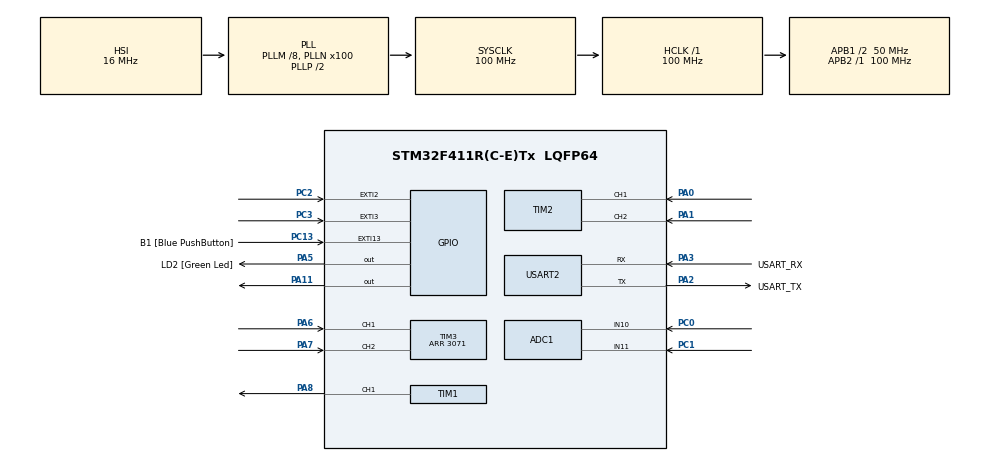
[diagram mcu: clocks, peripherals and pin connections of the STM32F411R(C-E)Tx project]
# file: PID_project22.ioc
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ADC1.Channel-0\#ChannelRegularConversion=ADC_CHANNEL_10
ADC1.NbrOfConversionFlag=1
ADC1.Rank-0\#ChannelRegularConversion=1
ADC1.SamplingTime-0\#ChannelRegularConversion=ADC_SAMPLETIME_3CYCLES
ADC1.master=1
Mcu.Family=STM32F4
Mcu.Name=STM32F411R(C-E)Tx
Mcu.Package=LQFP64
NVIC.PriorityGroup=NVIC_PRIORITYGROUP_0
NVIC.TIM1_BRK_TIM9_IRQn=true\:0\:0\:false\:false\:true\:true\:true\:true
NVIC.TIM2_IRQn=true\:0\:0\:false\:false\:true\:true\:true\:true
NVIC.TIM5_IRQn=true\:0\:0\:false\:false\:true\:true\:true\:true
PA0-WKUP.Signal=S_TIM2_CH1_ETR
PA1.Signal=S_TIM2_CH2
PA11.Signal=GPIO_Output
PA13.GPIO_Label=TMS
PA13.Mode=Trace_Asynchronous_SW
PA13.Signal=SYS_JTMS-SWDIO
PA14.GPIO_Label=TCK
PA14.Mode=Trace_Asynchronous_SW
PA14.Signal=SYS_JTCK-SWCLK
PA2.GPIO_Label=USART_TX
PA2.Mode=Asynchronous
PA2.Signal=USART2_TX
PA3.GPIO_Label=USART_RX
PA3.Mode=Asynchronous
PA3.Signal=USART2_RX
PA5.GPIO_Label=LD2 [Green Led]
PA5.Signal=GPIO_Output
PA6.Signal=S_TIM3_CH1
PA7.Signal=S_TIM3_CH2
PA8.Signal=S_TIM1_CH1
PB3.GPIO_Label=SWO
PB3.Mode=Trace_Asynchronous_SW
PB3.Signal=SYS_JTDO-SWO
PC0.Signal=ADCx_IN10
PC1.Signal=ADCx_IN11
PC13-ANTI_TAMP.GPIO_Label=B1 [Blue PushButton]
PC13-ANTI_TAMP.GPIO_ModeDefaultEXTI=GPIO_MODE_IT_FALLING
PC13-ANTI_TAMP.Signal=GPXTI13
PC14-OSC32_IN.Mode=LSE-External-Oscillator
PC14-OSC32_IN.Signal=RCC_OSC32_IN
PC15-OSC32_OUT.Mode=LSE-External-Oscillator
PC15-OSC32_OUT.Signal=RCC_OSC32_OUT
PC2.Signal=GPXTI2
PC3.Signal=GPXTI3
PH0\ -\ OSC_IN.Mode=HSE-External-Clock-Source
PH0\ -\ OSC_IN.Signal=RCC_OSC_IN
PH1\ -\ OSC_OUT.Mode=HSE-External-Clock-Source
PH1\ -\ OSC_OUT.Signal=RCC_OSC_OUT
ProjectManager.HeapSize=0x200
ProjectManager.StackSize=0x400
ProjectManager.TargetToolchain=STM32CubeIDE
RCC.48MHZClocksFreq_Value=50000000
RCC.AHBFreq_Value=100000000
RCC.APB1CLKDivider=RCC_HCLK_DIV2
RCC.APB1Freq_Value=50000000
RCC.APB1TimFreq_Value=100000000
RCC.APB2Freq_Value=100000000
RCC.APB2TimFreq_Value=100000000
RCC.CortexFreq_Value=100000000
RCC.FLatency-AdvancedSettings=FLASH_LATENCY_3
RCC.HCLKFreq_Value=100000000
RCC.HSE_VALUE=8000000
RCC.HSI_VALUE=16000000
RCC.PLLM=8
RCC.PLLN=100
RCC.SYSCLKFreq_VALUE=100000000
RCC.SYSCLKSource=RCC_SYSCLKSOURCE_PLLCLK
RCC.VCOOutputFreq_Value=200000000
SH.ADCx_IN10.0=ADC1_IN10,IN10
SH.ADCx_IN11.0=ADC1_IN11,IN11
SH.S_TIM1_CH1.0=TIM1_CH1,PWM Generation1 CH1
SH.S_TIM2_CH1_ETR.0=TIM2_CH1,Encoder_Interface
SH.S_TIM2_CH2.0=TIM2_CH2,Encoder_Interface
SH.S_TIM3_CH1.0=TIM3_CH1,Encoder_Interface
SH.S_TIM3_CH2.0=TIM3_CH2,Encoder_Interface
TIM1.Channel-PWM\ Generation1\ CH1=TIM_CHANNEL_1
TIM1.Period=24999
TIM1.Prescaler=5-1
TIM2.EncoderMode=TIM_ENCODERMODE_TI12
TIM3.EncoderMode=TIM_ENCODERMODE_TI12
TIM3.Period=3071
TIM5.Prescaler=83
TIM9.Period=1000-1
TIM9.Prescaler=9
USART2.VirtualMode=VM_ASYNC
VP_TIM1_VS_ClockSourceINT.Mode=Internal
VP_TIM5_VS_ClockSourceINT.Mode=Internal
VP_TIM9_VS_ClockSourceINT.Mode=Internal
board=NUCLEO-F411RE

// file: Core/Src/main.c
/* USER CODE BEGIN Header */
/**
 ******************************************************************************
 * @file           : main.c
 * @brief          : Main program body
 ******************************************************************************
 * @attention
 *
 * Copyright (c) 2023 STMicroelectronics.
 * All rights reserved.
 *
 * This software is licensed under terms that can be found in the LICENSE file
 * in the root directory of this software component.
 * If no LICENSE file comes with this software, it is provided AS-IS.
 *
 ******************************************************************************
 */
/* USER CODE END Header */
//#include <LowpassFilter.h>
#include "main.h"

/* USER CODE BEGIN Includes */

#include "LowpassFilter.h"
#include "math.h"
#include "trajectory_trapezoidal.h"
#include "PIDControl.h"

/* USER CODE END Includes */

ADC_HandleTypeDef hadc1;

TIM_HandleTypeDef htim1;
TIM_HandleTypeDef htim2;
TIM_HandleTypeDef htim3;
TIM_HandleTypeDef htim5;
TIM_HandleTypeDef htim9;

UART_HandleTypeDef huart2;

/* USER CODE BEGIN PV */

float velo_filter = 0;
float acc_filter = 0;

float position_milli = 0;

// time
float dt = 0.0001;
uint64_t _micros = 0;
uint64_t time = 0;
uint8_t time_flag = 0;

float velocity_max = 34000;
float acceleration_max = 80000;

int position_setpoint = 0;
float velocity_setpoint = 0;
float acceleration_setpoint = 0;

float Kp_position = 114;
float Ki_position = 0.196;//0.345
float Kd_position = 500;

float setpoint = 0;

float velocity_measure = 0;
float velocity_measure_filter_now = 0;
float velocity_measure_filter_past = 0;
float acceleration_measure = 0;
float acceleration_measure_filter = 0;

float C1 = 0;
float C2 = 0;

int32_t QEIReadRaw_now;
int32_t QEIReadRaw_past;

float voltage = 0;

int flagtime = 0;

uint32_t Cutoff_v = 20;
uint32_t SamplingFreq_v = 10000;

uint32_t Cutoff_a = 9;
uint32_t SamplingFreq_a = 10000;

/* USER CODE END PV */

void SystemClock_Config(void);
static void MX_GPIO_Init(void);
static void MX_USART2_UART_Init(void);
static void MX_TIM3_Init(void);
static void MX_TIM1_Init(void);
static void MX_TIM5_Init(void);
static void MX_ADC1_Init(void);
static void MX_TIM2_Init(void);
static void MX_TIM9_Init(void);
/* USER CODE BEGIN PFP */

inline uint64_t micros();
void motor(float voltage);

/* USER CODE END PFP */

int main(void)
{
  /* USER CODE BEGIN 1 */

// 	C1 = ComputeLowpassConstant(Cutoff_v, SamplingFreq_v);
//	C2 = ComputeLowpassConstant(Cutoff_a, SamplingFreq_a);
  /* USER CODE END 1 */

  /* MCU Configuration--------------------------------------------------------*/

  /* Reset of all peripherals, Initializes the Flash interface and the Systick. */
  HAL_Init();

  /* Configure the system clock */
  SystemClock_Config();

  /* Initialize all configured peripherals */
  MX_GPIO_Init();
  MX_USART2_UART_Init();
  MX_TIM3_Init();
  MX_TIM1_Init();
  MX_TIM5_Init();
  MX_ADC1_Init();
  MX_TIM2_Init();
  MX_TIM9_Init();
  /* USER CODE BEGIN 2 */

	HAL_TIM_Base_Start(&htim1);
	HAL_TIM_PWM_Start(&htim1, TIM_CHANNEL_1);

	HAL_TIM_Encoder_Start(&htim2, TIM_CHANNEL_1 | TIM_CHANNEL_2);

	HAL_TIM_Base_Start_IT(&htim5);

	HAL_TIM_Base_Start_IT(&htim9);

  /* USER CODE END 2 */

  /* Infinite loop */
	while (1) {

    /* USER CODE BEGIN 3 */
//		static uint64_t timestamp = 0;
//		time  = micros();
//		if (time > timestamp) {
//			timestamp += 100;
//			dt = 0.0001;
//			Distance();
//			Trajectory();
////			velocity_check = (QEIReadRaw_now - QEIReadRaw_past)/dt;
////		  PositionControlPID();
//			QEIReadRaw_now = __HAL_TIM_GET_COUNTER(&htim2);
////			PositionControlPID();
//			VelocityControlPID();
////			velocity_check = (QEIReadRaw_now - QEIReadRaw_past)/dt;
////			velocity_check_filter = (C * velocity_check) + ((1-C)*velocity_check_filter);
//			motor(voltage);
////			QEIReadRaw_past = QEIReadRaw_now;

		}

		// auto run
//		static uint32_t timestamp2 = 0;
//		if (HAL_GetTick() > timestamp2) {
//			timestamp2 = HAL_GetTick() + 1400;
//			if(!setpoint_now)
//			{
//				setpoint_now = 20000;
//			}
//			else
//			{
//				setpoint_now = 0;
//			}
//		}

//	  static uint32_t timestamp = 0;
//	  if(HAL_GetTick() > timestamp)
//	  {
//		  timestamp = HAL_GetTick() + 5;
//		  dt = 0.005;
//		  QEIEncoderPosition();
//		  VelocityControlPID();
//		  Drivemotor();
//	  }
//	}
  /* USER CODE END 3 */
}

void SystemClock_Config(void)
{
  RCC_OscInitTypeDef RCC_OscInitStruct = {0};
  RCC_ClkInitTypeDef RCC_ClkInitStruct = {0};

  /** Configure the main internal regulator output voltage
  */
  __HAL_RCC_PWR_CLK_ENABLE();
  __HAL_PWR_VOLTAGESCALING_CONFIG(PWR_REGULATOR_VOLTAGE_SCALE1);

  /** Initializes the RCC Oscillators according to the specified parameters
  * in the RCC_OscInitTypeDef structure.
  */
  RCC_OscInitStruct.OscillatorType = RCC_OSCILLATORTYPE_HSI;
  RCC_OscInitStruct.HSIState = RCC_HSI_ON;
  RCC_OscInitStruct.HSICalibrationValue = RCC_HSICALIBRATION_DEFAULT;
  RCC_OscInitStruct.PLL.PLLState = RCC_PLL_ON;
  RCC_OscInitStruct.PLL.PLLSource = RCC_PLLSOURCE_HSI;
  RCC_OscInitStruct.PLL.PLLM = 8;
  RCC_OscInitStruct.PLL.PLLN = 100;
  RCC_OscInitStruct.PLL.PLLP = RCC_PLLP_DIV2;
  RCC_OscInitStruct.PLL.PLLQ = 4;
  if (HAL_RCC_OscConfig(&RCC_OscInitStruct) != HAL_OK)
  {
    Error_Handler();
  }

  /** Initializes the CPU, AHB and APB buses clocks
  */
  RCC_ClkInitStruct.ClockType = RCC_CLOCKTYPE_HCLK|RCC_CLOCKTYPE_SYSCLK
                              |RCC_CLOCKTYPE_PCLK1|RCC_CLOCKTYPE_PCLK2;
  RCC_ClkInitStruct.SYSCLKSource = RCC_SYSCLKSOURCE_PLLCLK;
  RCC_ClkInitStruct.AHBCLKDivider = RCC_SYSCLK_DIV1;
  RCC_ClkInitStruct.APB1CLKDivider = RCC_HCLK_DIV2;
  RCC_ClkInitStruct.APB2CLKDivider = RCC_HCLK_DIV1;

  if (HAL_RCC_ClockConfig(&RCC_ClkInitStruct, FLASH_LATENCY_3) != HAL_OK)
  {
    Error_Handler();
  }
}

static void MX_ADC1_Init(void)
{

  ADC_ChannelConfTypeDef sConfig = {0};

  /** Configure the global features of the ADC (Clock, Resolution, Data Alignment and number of conversion)
  */
  hadc1.Instance = ADC1;
  hadc1.Init.ClockPrescaler = ADC_CLOCK_SYNC_PCLK_DIV4;
  hadc1.Init.Resolution = ADC_RESOLUTION_12B;
  hadc1.Init.ScanConvMode = DISABLE;
  hadc1.Init.ContinuousConvMode = DISABLE;
  hadc1.Init.DiscontinuousConvMode = DISABLE;
  hadc1.Init.ExternalTrigConvEdge = ADC_EXTERNALTRIGCONVEDGE_NONE;
  hadc1.Init.ExternalTrigConv = ADC_SOFTWARE_START;
  hadc1.Init.DataAlign = ADC_DATAALIGN_RIGHT;
  hadc1.Init.NbrOfConversion = 1;
  hadc1.Init.DMAContinuousRequests = DISABLE;
  hadc1.Init.EOCSelection = ADC_EOC_SINGLE_CONV;
  if (HAL_ADC_Init(&hadc1) != HAL_OK)
  {
    Error_Handler();
  }

  /** Configure for the selected ADC regular channel its corresponding rank in the sequencer and its sample time.
  */
  sConfig.Channel = ADC_CHANNEL_10;
  sConfig.Rank = 1;
  sConfig.SamplingTime = ADC_SAMPLETIME_3CYCLES;
  if (HAL_ADC_ConfigChannel(&hadc1, &sConfig) != HAL_OK)
  {
    Error_Handler();
  }

}

static void MX_TIM1_Init(void)
{

  TIM_ClockConfigTypeDef sClockSourceConfig = {0};
  TIM_MasterConfigTypeDef sMasterConfig = {0};
  TIM_OC_InitTypeDef sConfigOC = {0};
  TIM_BreakDeadTimeConfigTypeDef sBreakDeadTimeConfig = {0};

  htim1.Instance = TIM1;
  htim1.Init.Prescaler = 5-1;
  htim1.Init.CounterMode = TIM_COUNTERMODE_UP;
  htim1.Init.Period = 24999;
  htim1.Init.ClockDivision = TIM_CLOCKDIVISION_DIV1;
  htim1.Init.RepetitionCounter = 0;
  htim1.Init.AutoReloadPreload = TIM_AUTORELOAD_PRELOAD_DISABLE;
  if (HAL_TIM_Base_Init(&htim1) != HAL_OK)
  {
    Error_Handler();
  }
  sClockSourceConfig.ClockSource = TIM_CLOCKSOURCE_INTERNAL;
  if (HAL_TIM_ConfigClockSource(&htim1, &sClockSourceConfig) != HAL_OK)
  {
    Error_Handler();
  }
  if (HAL_TIM_PWM_Init(&htim1) != HAL_OK)
  {
    Error_Handler();
  }
  sMasterConfig.MasterOutputTrigger = TIM_TRGO_RESET;
  sMasterConfig.MasterSlaveMode = TIM_MASTERSLAVEMODE_DISABLE;
  if (HAL_TIMEx_MasterConfigSynchronization(&htim1, &sMasterConfig) != HAL_OK)
  {
    Error_Handler();
  }
  sConfigOC.OCMode = TIM_OCMODE_PWM1;
  sConfigOC.Pulse = 0;
  sConfigOC.OCPolarity = TIM_OCPOLARITY_HIGH;
  sConfigOC.OCNPolarity = TIM_OCNPOLARITY_HIGH;
  sConfigOC.OCFastMode = TIM_OCFAST_DISABLE;
  sConfigOC.OCIdleState = TIM_OCIDLESTATE_RESET;
  sConfigOC.OCNIdleState = TIM_OCNIDLESTATE_RESET;
  if (HAL_TIM_PWM_ConfigChannel(&htim1, &sConfigOC, TIM_CHANNEL_1) != HAL_OK)
  {
    Error_Handler();
  }
  sBreakDeadTimeConfig.OffStateRunMode = TIM_OSSR_DISABLE;
  sBreakDeadTimeConfig.OffStateIDLEMode = TIM_OSSI_DISABLE;
  sBreakDeadTimeConfig.LockLevel = TIM_LOCKLEVEL_OFF;
  sBreakDeadTimeConfig.DeadTime = 0;
  sBreakDeadTimeConfig.BreakState = TIM_BREAK_DISABLE;
  sBreakDeadTimeConfig.BreakPolarity = TIM_BREAKPOLARITY_HIGH;
  sBreakDeadTimeConfig.AutomaticOutput = TIM_AUTOMATICOUTPUT_DISABLE;
  if (HAL_TIMEx_ConfigBreakDeadTime(&htim1, &sBreakDeadTimeConfig) != HAL_OK)
  {
    Error_Handler();
  }
  HAL_TIM_MspPostInit(&htim1);

}

static void MX_TIM2_Init(void)
{

  TIM_Encoder_InitTypeDef sConfig = {0};
  TIM_MasterConfigTypeDef sMasterConfig = {0};

  htim2.Instance = TIM2;
  htim2.Init.Prescaler = 0;
  htim2.Init.CounterMode = TIM_COUNTERMODE_UP;
  htim2.Init.Period = 4294967295;
  htim2.Init.ClockDivision = TIM_CLOCKDIVISION_DIV1;
  htim2.Init.AutoReloadPreload = TIM_AUTORELOAD_PRELOAD_DISABLE;
  sConfig.EncoderMode = TIM_ENCODERMODE_TI12;
  sConfig.IC1Polarity = TIM_ICPOLARITY_RISING;
  sConfig.IC1Selection = TIM_ICSELECTION_DIRECTTI;
  sConfig.IC1Prescaler = TIM_ICPSC_DIV1;
  sConfig.IC1Filter = 0;
  sConfig.IC2Polarity = TIM_ICPOLARITY_RISING;
  sConfig.IC2Selection = TIM_ICSELECTION_DIRECTTI;
  sConfig.IC2Prescaler = TIM_ICPSC_DIV1;
  sConfig.IC2Filter = 0;
  if (HAL_TIM_Encoder_Init(&htim2, &sConfig) != HAL_OK)
  {
    Error_Handler();
  }
  sMasterConfig.MasterOutputTrigger = TIM_TRGO_RESET;
  sMasterConfig.MasterSlaveMode = TIM_MASTERSLAVEMODE_DISABLE;
  if (HAL_TIMEx_MasterConfigSynchronization(&htim2, &sMasterConfig) != HAL_OK)
  {
    Error_Handler();
  }

}

static void MX_TIM3_Init(void)
{

  TIM_Encoder_InitTypeDef sConfig = {0};
  TIM_MasterConfigTypeDef sMasterConfig = {0};

  htim3.Instance = TIM3;
  htim3.Init.Prescaler = 0;
  htim3.Init.CounterMode = TIM_COUNTERMODE_UP;
  htim3.Init.Period = 3071;
  htim3.Init.ClockDivision = TIM_CLOCKDIVISION_DIV1;
  htim3.Init.AutoReloadPreload = TIM_AUTORELOAD_PRELOAD_DISABLE;
  sConfig.EncoderMode = TIM_ENCODERMODE_TI12;
  sConfig.IC1Polarity = TIM_ICPOLARITY_RISING;
  sConfig.IC1Selection = TIM_ICSELECTION_DIRECTTI;
  sConfig.IC1Prescaler = TIM_ICPSC_DIV1;
  sConfig.IC1Filter = 0;
  sConfig.IC2Polarity = TIM_ICPOLARITY_RISING;
  sConfig.IC2Selection = TIM_ICSELECTION_DIRECTTI;
  sConfig.IC2Prescaler = TIM_ICPSC_DIV1;
  sConfig.IC2Filter = 0;
  if (HAL_TIM_Encoder_Init(&htim3, &sConfig) != HAL_OK)
  {
    Error_Handler();
  }
  sMasterConfig.MasterOutputTrigger = TIM_TRGO_RESET;
  sMasterConfig.MasterSlaveMode = TIM_MASTERSLAVEMODE_DISABLE;
  if (HAL_TIMEx_MasterConfigSynchronization(&htim3, &sMasterConfig) != HAL_OK)
  {
    Error_Handler();
  }

}

static void MX_TIM5_Init(void)
{

  TIM_ClockConfigTypeDef sClockSourceConfig = {0};
  TIM_MasterConfigTypeDef sMasterConfig = {0};

  htim5.Instance = TIM5;
  htim5.Init.Prescaler = 83;
  htim5.Init.CounterMode = TIM_COUNTERMODE_UP;
  htim5.Init.Period = 4294967295;
  htim5.Init.ClockDivision = TIM_CLOCKDIVISION_DIV1;
  htim5.Init.AutoReloadPreload = TIM_AUTORELOAD_PRELOAD_DISABLE;
  if (HAL_TIM_Base_Init(&htim5) != HAL_OK)
  {
    Error_Handler();
  }
  sClockSourceConfig.ClockSource = TIM_CLOCKSOURCE_INTERNAL;
  if (HAL_TIM_ConfigClockSource(&htim5, &sClockSourceConfig) != HAL_OK)
  {
    Error_Handler();
  }
  sMasterConfig.MasterOutputTrigger = TIM_TRGO_RESET;
  sMasterConfig.MasterSlaveMode = TIM_MASTERSLAVEMODE_DISABLE;
  if (HAL_TIMEx_MasterConfigSynchronization(&htim5, &sMasterConfig) != HAL_OK)
  {
    Error_Handler();
  }

}

static void MX_TIM9_Init(void)
{

  TIM_ClockConfigTypeDef sClockSourceConfig = {0};

  htim9.Instance = TIM9;
  htim9.Init.Prescaler = 9;
  htim9.Init.CounterMode = TIM_COUNTERMODE_UP;
  htim9.Init.Period = 1000-1;
  htim9.Init.ClockDivision = TIM_CLOCKDIVISION_DIV1;
  htim9.Init.AutoReloadPreload = TIM_AUTORELOAD_PRELOAD_DISABLE;
  if (HAL_TIM_Base_Init(&htim9) != HAL_OK)
  {
    Error_Handler();
  }
  sClockSourceConfig.ClockSource = TIM_CLOCKSOURCE_INTERNAL;
  if (HAL_TIM_ConfigClockSource(&htim9, &sClockSourceConfig) != HAL_OK)
  {
    Error_Handler();
  }

}

static void MX_USART2_UART_Init(void)
{

  huart2.Instance = USART2;
  huart2.Init.BaudRate = 115200;
  huart2.Init.WordLength = UART_WORDLENGTH_8B;
  huart2.Init.StopBits = UART_STOPBITS_1;
  huart2.Init.Parity = UART_PARITY_NONE;
  huart2.Init.Mode = UART_MODE_TX_RX;
  huart2.Init.HwFlowCtl = UART_HWCONTROL_NONE;
  huart2.Init.OverSampling = UART_OVERSAMPLING_16;
  if (HAL_UART_Init(&huart2) != HAL_OK)
  {
    Error_Handler();
  }

}

static void MX_GPIO_Init(void)
{
  GPIO_InitTypeDef GPIO_InitStruct = {0};

  /* GPIO Ports Clock Enable */
  __HAL_RCC_GPIOC_CLK_ENABLE();
  __HAL_RCC_GPIOH_CLK_ENABLE();
  __HAL_RCC_GPIOA_CLK_ENABLE();
  __HAL_RCC_GPIOB_CLK_ENABLE();

  /*Configure GPIO pin Output Level */
  HAL_GPIO_WritePin(GPIOA, LD2_Pin|GPIO_PIN_11, GPIO_PIN_RESET);

  /*Configure GPIO pin : B1_Pin */
  GPIO_InitStruct.Pin = B1_Pin;
  GPIO_InitStruct.Mode = GPIO_MODE_IT_FALLING;
  GPIO_InitStruct.Pull = GPIO_NOPULL;
  HAL_GPIO_Init(B1_GPIO_Port, &GPIO_InitStruct);

  /*Configure GPIO pins : PC2 PC3 */
  GPIO_InitStruct.Pin = GPIO_PIN_2|GPIO_PIN_3;
  GPIO_InitStruct.Mode = GPIO_MODE_IT_RISING;
  GPIO_InitStruct.Pull = GPIO_NOPULL;
  HAL_GPIO_Init(GPIOC, &GPIO_InitStruct);

  /*Configure GPIO pins : LD2_Pin PA11 */
  GPIO_InitStruct.Pin = LD2_Pin|GPIO_PIN_11;
  GPIO_InitStruct.Mode = GPIO_MODE_OUTPUT_PP;
  GPIO_InitStruct.Pull = GPIO_NOPULL;
  GPIO_InitStruct.Speed = GPIO_SPEED_FREQ_LOW;
  HAL_GPIO_Init(GPIOA, &GPIO_InitStruct);

}

/* USER CODE BEGIN 4 */

//void PositionControlPID() {
//	error_position = position_setpoint - position_now;
//
//	// P-term-position
//	P_position_term = Kp_position * error_position;
//
//	// I-term-position
//	if (((distance_one_travel - 0.1) < position_now)
//			&& (position_now < (distance_one_travel + 0.1))) {
//		integrate_position = 0;
//	} else {
//		integrate_position += (error_position * dt);
//	}
//	I_position_term = Ki_position * integrate_position;
//
//	// D-term-position
//	D_position_term = Kd_position * (error_position / dt);
//
//	// PID-position
//	PID_position_total = P_position_term + I_position_term + D_position_term;
//}

void velo_acc()
{
	velocity_measure = (QEIReadRaw_now - QEIReadRaw_past)/dt;
	velocity_measure_filter_now = (C1 * velocity_measure) + ((1-C1)*velocity_measure_filter_now);

	acceleration_measure = (velocity_measure_filter_now - velocity_measure_filter_past)/dt;
	acceleration_measure_filter = (C2 * acceleration_measure) + ((1-C2)*acceleration_measure_filter);

	velocity_measure_filter_past = velocity_measure_filter_now;
}

void motor(float voltage) {
	if (voltage > 0) {
		// forward
		if (voltage > 25000) {
			voltage = 25000;
		}
		HAL_GPIO_WritePin(GPIOA, GPIO_PIN_11, RESET);
	} else if (voltage < 0) {
		// backward
		voltage *= -1.0;
		if (voltage > 25000) {
			voltage = 25000;
		}
		HAL_GPIO_WritePin(GPIOA, GPIO_PIN_11, SET);
	}
//	else {
//		// stop
//		voltage = 0;
//	}

	__HAL_TIM_SET_COMPARE(&htim1, TIM_CHANNEL_1, voltage);
}

void HAL_TIM_PeriodElapsedCallback(TIM_HandleTypeDef *htim) {
//	if (htim == &htim5) {
//		if (time_flag) _micros += UINT32_MAX;
//		time_flag = 1;
//	}
	if (htim == &htim9)
	{
//	 	C1 = ComputeLowpassConstant(Cutoff_v, SamplingFreq_v);
//		C2 = ComputeLowpassConstant(Cutoff_a, SamplingFreq_a);

		// Variables to store the computed values
		int position;
		float velocity, acceleration;
		float PID_out;

		// Call the Trajectory function
		Trajectory(setpoint,velocity_max,acceleration_max, &position, &velocity, &acceleration);

		position_setpoint = position;
		velocity_setpoint = velocity;
		acceleration_setpoint = acceleration;

		QEIReadRaw_now = __HAL_TIM_GET_COUNTER(&htim2);
		motor(voltage);

		float velocity_measure_filter_now, acceleration_measure_filter;
		lowpass_filter(QEIReadRaw_now, &velocity_measure_filter_now, &acceleration_measure_filter);

		velo_filter = velocity_measure_filter_now;
		acc_filter = acceleration_measure_filter;

		QEIReadRaw_past = QEIReadRaw_now;

		static uint8_t flip = 0;
		flip = flip%5;
		if(flip == 0){
			PositionControlPID(position_setpoint, QEIReadRaw_now, Kp_position, Ki_position, Kd_position, &PID_out);
			voltage = PID_out;
		}
		flip += 1;
	}
}

uint64_t micros() {
	return __HAL_TIM_GET_COUNTER(&htim5) + _micros;
}

/* USER CODE END 4 */

void Error_Handler(void)
{
	__disable_irq();
	while (1) {
	}
}
